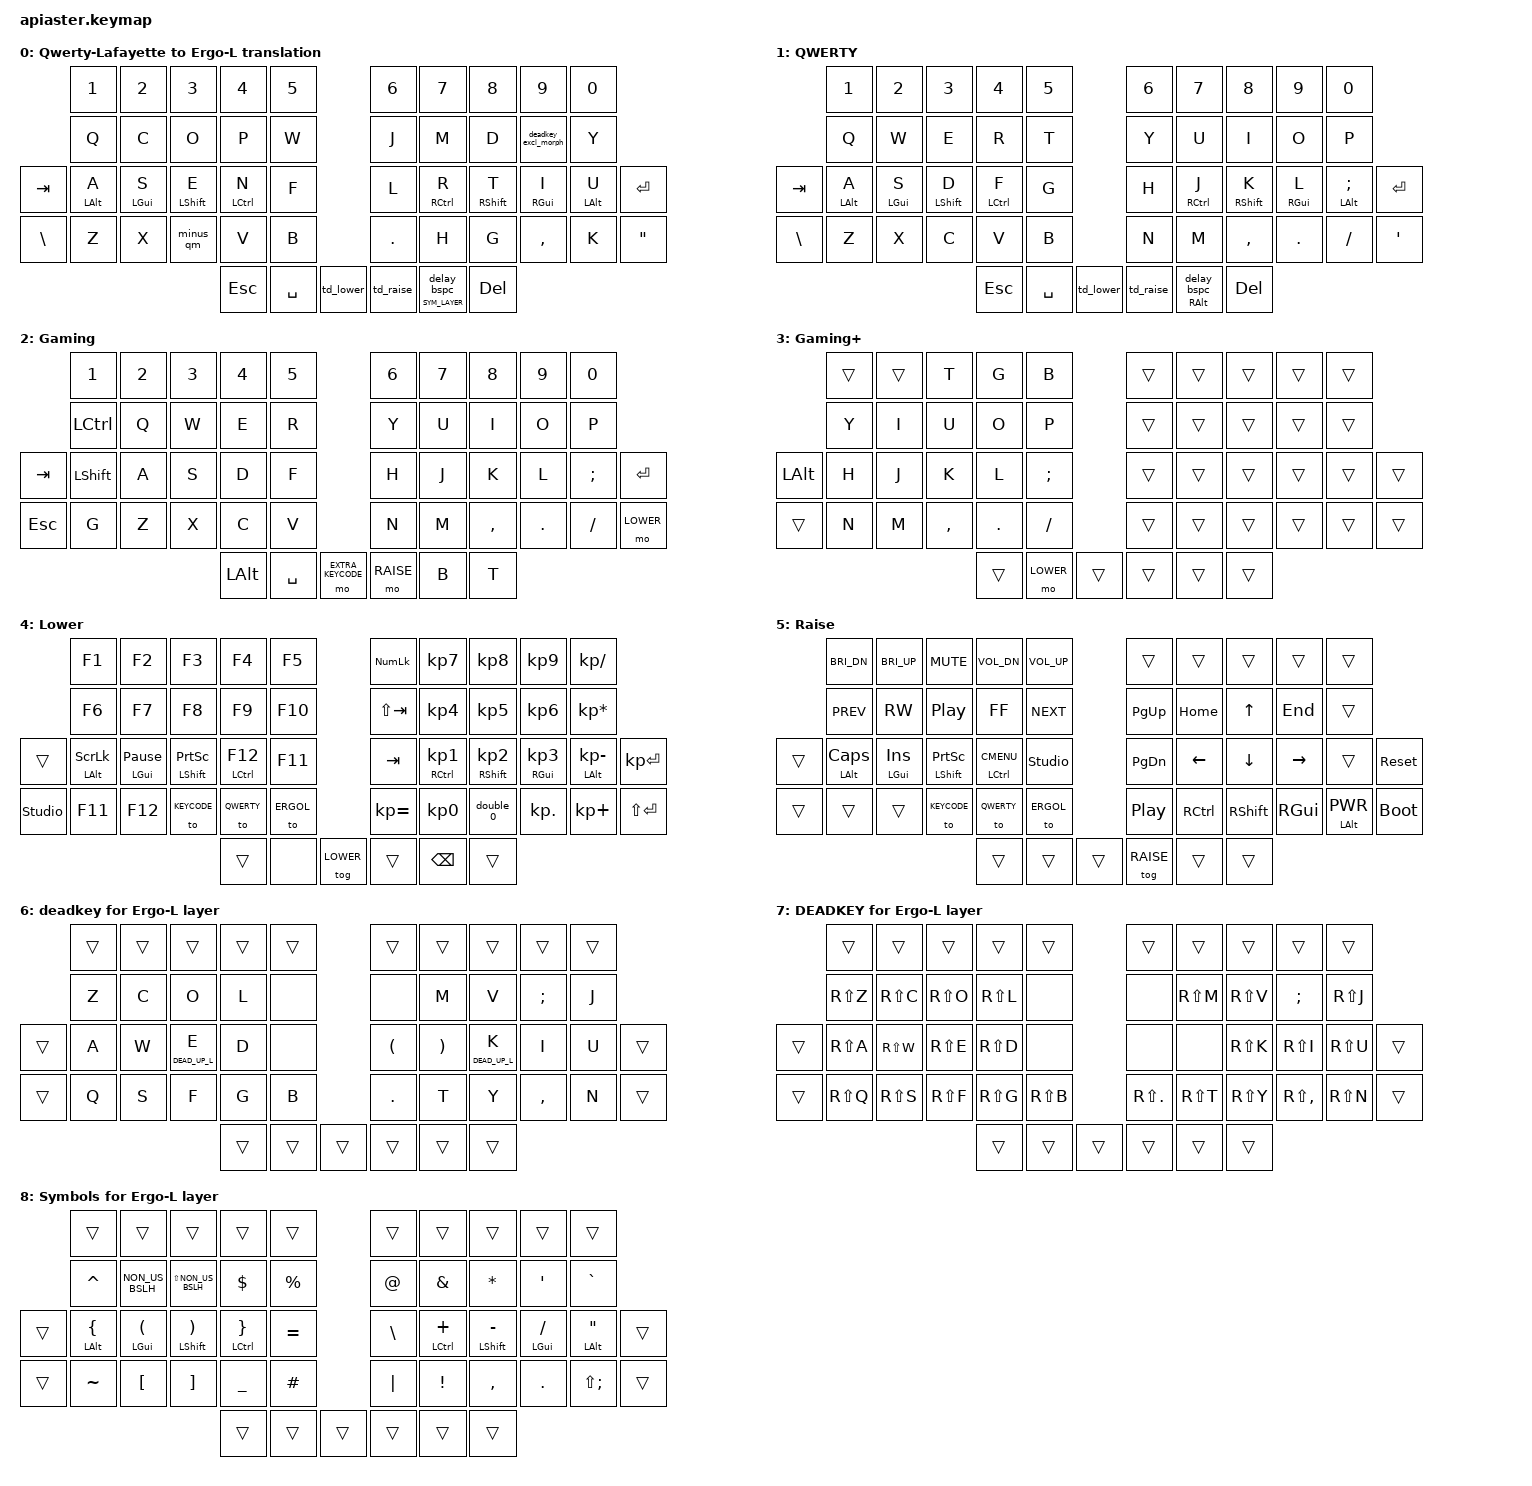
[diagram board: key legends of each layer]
#include <behaviors.dtsi>
#include <dt-bindings/zmk/keys.h>
#include <dt-bindings/zmk/bt.h>

#define ERGOL 0
#define QWERTY 1
#define KEYCODE 2
#define EXTRA_KEYCODE 3
#define LOWER 4
#define RAISE 5
#define DEAD_L 6
#define DEAD_UP_L 7
#define SYM_LAYER 8

#define KEYS_L 0 1 2 3 4 10 11 12 13 14 20 21 22 23 24 25 32 33 34 35 36 37
#define KEYS_R 5 6 7 8 9 15 16 17 18 19 26 27 28 29 30 31 38 39 40 41 42 43
#define THUMBS_L 44 45 46
#define THUMBS_R 47 48 49

#define COMPOSE_KEY RALT


/ {    
//  TODO: Caractère `×` et autres majuscules de la couche `sym` mieux implémentées, accés aux guilemets ” ouvrants fermants.
    macros {
        double_0: keypad_double_0 {
        compatible = "zmk,behavior-macro";
            #binding-cells = <0>;
            bindings
            = <&macro_tap &kp KP_NUMBER_0>
                , <&macro_tap &kp KP_NUMBER_0>;
        };

        deadlayer: deadkey_layer {
        compatible = "zmk,behavior-macro";
            #binding-cells = <0>;
            bindings
            = <&macro_tap &kp SEMI>
                , <&sl DEAD_L>; 
        };

        delay_bspc: delayed_backspace {
            compatible = "zmk,behavior-macro";
            #binding-cells = <0>;
            bindings
                = <&macro_press &kp BSPC>
                , <&macro_wait_time 20>
                , <&macro_release &kp BSPC>
                ;
        };
    };

    behaviors {
        hl: home_row_hold_tap_left {
        compatible = "zmk,behavior-hold-tap";
            #binding-cells = <2>;
            flavor = "balanced";
            tapping-term-ms = <280>;
            quick-tap-ms = <175>;
            require-prior-idle-ms = <125>;
            bindings = <&kp>, <&kp>;
            hold-trigger-key-positions = <KEYS_R THUMBS_R>;
            hold-trigger-on-release;
        };

        hr: home_row_hold_tap_right {
        compatible = "zmk,behavior-hold-tap";
            #binding-cells = <2>;
            flavor = "balanced";
            tapping-term-ms = <280>;
            quick-tap-ms = <175>;
            require-prior-idle-ms = <125>;
            bindings = <&kp>, <&kp>;
            hold-trigger-key-positions = <KEYS_L THUMBS_L>;
            hold-trigger-on-release;
        };

        lthl: layer_tap_hold_left {
        compatible = "zmk,behavior-hold-tap";
            #binding-cells = <2>;
            flavor = "balanced";
            tapping-term-ms = <280>;
            quick-tap-ms = <175>;
            require-prior-idle-ms = <125>;
            bindings = <&mo>, <&kp>;
            hold-trigger-key-positions = <KEYS_R THUMBS_R>;
            hold-trigger-on-release;
        };

        lthr: layer_tap_hold_right {
        compatible = "zmk,behavior-hold-tap";
            #binding-cells = <2>;
            flavor = "balanced";
            tapping-term-ms = <280>;
            quick-tap-ms = <175>;
            require-prior-idle-ms = <125>;
            bindings = <&mo>, <&kp>;
            hold-trigger-key-positions = <KEYS_L THUMBS_L>;
            hold-trigger-on-release;
        };

        ltbspc: layer_tap_backspace {
        compatible = "zmk,behavior-hold-tap";
            #binding-cells = <2>;
            flavor = "hold-preferred";
            tapping-term-ms = <180>;
            quick-tap-ms = <150>;
            require-prior-idle-ms = <125>;
            bindings = <&mo>, <&delay_bspc>;
        };

        htbspc: hold_tap_backspace {
        compatible = "zmk,behavior-hold-tap";
            #binding-cells = <2>;
            flavor = "hold-preferred";
            tapping-term-ms = <180>;
            quick-tap-ms = <150>;
            require-prior-idle-ms = <125>;
            bindings = <&kp>, <&delay_bspc>;
        };
        // Unused
        td_rst: reset_tap_dance {
        compatible = "zmk,behavior-tap-dance";
            #binding-cells = <0>;
            tapping-term-ms = <200>;
            bindings = <&sys_reset>, <&bootloader>;
        };

        td_lower: tap_dance_lower {
        compatible = "zmk,behavior-tap-dance";
            #binding-cells = <0>;
            tapping-term-ms = <200>;
            bindings
            = <&mo LOWER>
                , <&tog LOWER>;
        };

        td_raise: tap_dance_raise {
        compatible = "zmk,behavior-tap-dance";
            #binding-cells = <0>;
            tapping-term-ms = <200>;
            bindings
            = <&mo RAISE>
                , <&tog RAISE>;
        };

        // Ergo-L Behaviors
        minus_qm: minus_question {
        compatible = "zmk,behavior-mod-morph";
            #binding-cells = <0>;
            bindings = <&kp MINUS>, <&kp QUESTION>;
            mods = <(MOD_LSFT|MOD_RSFT)>;
        };

        deadkey_excl_morph: deadkey_excl_morph {
        compatible = "zmk,behavior-mod-morph";
            #binding-cells = <0>;
            bindings = <&deadlayer>, <&kp EXCL>;
            mods = <(MOD_LSFT|MOD_RSFT)>;
        };
    };

    keymap {
    compatible = "zmk,keymap";

        ergol_conversion_layer {
        display-name = "Qwerty-Lafayette to Ergo-L translation";
            bindings = <
      &kp N1      &kp N2     &kp N3     &kp N4       &kp N5                      &kp N6   &kp N7      &kp N8      &kp N9        &kp N0
      &kp Q       &kp C      &kp O      &kp P        &kp W                       &kp J    &kp M       &kp D       &deadkey_excl_morph &kp Y
&kp TAB  &hl LALT A &hl LGUI S &hl LSHFT E &hl LCTRL N  &kp F                       &kp L    &hr RCTRL R &hr RSHFT T &hr RGUI I   &hr LALT U &kp ENTER
&kp BSLH &kp Z       &kp X      &minus_qm  &kp V        &kp B                       &kp DOT &kp H       &kp G       &kp COMMA    &kp K      &kp DOUBLE_QUOTES
                                        &kp ESC &kp SPACE &td_lower &td_raise &ltbspc SYM_LAYER 0 &kp DEL
        >;
        };

        qwerty_layer {
        display-name = "QWERTY";
            bindings = <
      &kp N1     &kp N2     &kp N3      &kp N4      &kp N5                      &kp N6    &kp N7      &kp N8      &kp N9     &kp N0
      &kp Q      &kp W      &kp E       &kp R       &kp T                       &kp Y     &kp U       &kp I       &kp O      &kp P
&kp TAB   &hl LALT A &hl LGUI S &hl LSHFT D &hl LCTRL F &kp G                       &kp H     &hr RCTRL J &hr RSHFT K &hr RGUI L &hr LALT SEMI &kp ENTER
&kp BSLH &kp Z      &kp X      &kp C       &kp V       &kp B                       &kp N     &kp M       &kp COMMA   &kp DOT    &kp FSLH      &kp SQT
                                        &kp ESC &kp SPACE &td_lower &td_raise &htbspc RALT 0 &kp DEL
        >;
        };

        // gaming layers
        keycode_layer {
        display-name = "Gaming";
            bindings = <
      &kp N1     &kp N2   &kp N3   &kp N4   &kp N5                            &kp N6 &kp N7 &kp N8 &kp N9 &kp N0
      &kp LCTRL  &kp Q    &kp W    &kp E    &kp R                             &kp Y &kp U &kp I &kp O &kp P
&kp TAB   &kp LSHFT  &kp A    &kp S    &kp D    &kp F                             &kp H &kp J &kp K &kp L &kp SEMI &kp ENTER
&kp ESC   &kp G  &kp Z    &kp X    &kp C    &kp V                             &kp N &kp M &kp COMMA &kp DOT &kp FSLH &mo LOWER
                                   &kp LALT &kp SPACE &mo EXTRA_KEYCODE &mo RAISE &kp B &kp T
        >;
        };

        extra_keycode_layer {
        display-name = "Gaming+";
            bindings = <
      &trans   &trans &kp T     &kp G   &kp B                  &trans    &trans  &trans  &trans  &trans  
      &kp Y    &kp I  &kp U     &kp O   &kp P                  &trans    &trans  &trans  &trans  &trans  
&kp LALT  &kp H    &kp J  &kp K     &kp L   &kp SEMI                  &trans    &trans  &trans  &trans  &trans   &trans  
&trans    &kp N    &kp M  &kp COMMA &kp DOT &kp FSLH                  &trans    &trans  &trans  &trans  &trans   &trans  
                                   &trans   &mo LOWER  &trans  &trans &trans    &trans
        >;
        };

        lower_layer {
        display-name = "Lower";
            bindings = <
       &kp F1              &kp F2               &kp F3          &kp F4        &kp F5  &kp KP_NUM  &kp KP_NUMBER_7       &kp KP_NUMBER_8       &kp KP_NUMBER_9 &kp KP_DIVIDE
       &kp F6              &kp F7               &kp F8          &kp F9        &kp F10 &kp LS(TAB) &kp KP_NUMBER_4       &kp KP_NUMBER_5       &kp KP_NUMBER_6 &kp KP_MULTIPLY
&trans &hl LALT SCROLLLOCK &hl LGUI PAUSE_BREAK &hl LSHFT PSCRN &hl LCTRL F12 &kp F11 &kp TAB &hr RCTRL KP_NUMBER_1 &hr RSHFT KP_NUMBER_2 &hr RGUI KP_NUMBER_3 &hr LALT KP_SUBTRACT &kp KP_ENTER
&studio_unlock &kp F11         &kp F12              &to KEYCODE     &to QWERTY    &to ERGOL &kp KP_EQUAL &kp KP_NUMBER_0 &double_0 &kp KP_DOT &kp KP_PLUS &kp LS(ENTER)
                                               &trans &none &tog LOWER &trans &kp BSPC &trans
        >;
        };

        raise_layer {
        display-name = "Raise";
            bindings = <
       &kp C_BRI_DN  &kp C_BRI_UP &kp C_MUTE      &kp C_VOL_DN      &kp C_VOL_UP        &trans    &trans    &trans    &trans    &trans
       &kp C_PREV    &kp C_RW     &kp C_PP        &kp C_FF          &kp C_NEXT          &kp PG_UP &kp HOME  &kp UP    &kp END   &trans
&trans &hl LALT CLCK &hl LGUI INS &hl LSHFT PSCRN &hl LCTRL K_CMENU &studio_unlock      &kp PG_DN &kp LEFT  &kp DOWN  &kp RIGHT &trans         &sys_reset
&trans &trans       &trans &to KEYCODE     &to QWERTY            &to ERGOL           &kp C_PP  &kp RCTRL &kp RSHFT &kp RGUI  &hr LALT C_PWR &bootloader
                                           &trans &trans &trans &tog RAISE &trans &trans
        >;
        };

        // Qwerty-Lafayette to Ergo-L translation overlays
        dead_key_layer {
        display-name = "deadkey for Ergo-L layer";
            bindings = <
      &trans &trans &trans &trans &trans           &trans &trans &trans &trans &trans
      &kp Z &kp C &kp O &kp L &none                      &none &kp M &kp V &kp SEMI &kp J
&trans &kp A &kp W &lthl DEAD_UP_L E &kp D &none     &kp LPAR &kp RPAR &lthr DEAD_UP_L K &kp I &kp U &trans
&trans &kp Q &kp S &kp F &kp G &kp B                   &kp DOT &kp T &kp Y &kp COMMA &kp N &trans
                                   &trans   &trans  &trans  &trans &trans &trans
        >;
        };

        upper_dead_key_layer {
        display-name = "DEADKEY for Ergo-L layer";
            bindings = <
   &trans &trans &trans &trans &trans                             &trans &trans &trans &trans &trans
   &kp RS(Z) &kp RS(C) &kp RS(O) &kp RS(L) &none                  &none       &kp RS(M) &kp RS(V) &kp SEMI     &kp RS(J)
&trans &kp RS(A) &kp RS(W) &kp RS(E) &kp RS(D) &none                  &none       &none     &kp RS(K) &kp RS(I)     &kp RS(U) &trans
&trans &kp RS(Q) &kp RS(S) &kp RS(F) &kp RS(G) &kp RS(B)              &kp RS(DOT) &kp RS(T) &kp RS(Y) &kp RS(COMMA) &kp RS(N) &trans
                                   &trans   &trans  &trans  &trans &trans &trans
        >;
        };

        sym_layer {
        display-name = "Symbols for Ergo-L layer";
            bindings = <
      &trans &trans &trans &trans &trans                                      &trans &trans &trans &trans &trans
      &kp CARET &kp NON_US_BSLH &kp LS(NON_US_BSLH) &kp DOLLAR &kp PERCENT    &kp AT &kp AMPERSAND &kp ASTERISK &kp SINGLE_QUOTE &kp GRAVE
&trans    &hl LALT LBRC  &hl LGUI LPAR  &hl LSHFT RPAR  &hl LCTRL RBRC  &kp EQUAL &kp BACKSLASH &hr LCTRL PLUS &hr LSHFT MINUS &hr LGUI SLASH &hr LALT DOUBLE_QUOTES &trans
&trans    &kp TILDE &kp LBKT &kp RBKT &kp UNDER &kp HASH                          &kp PIPE &kp EXCL &kp COMMA &kp DOT &kp LS(SEMI) &trans
                                         &trans   &trans  &trans                    &trans &trans    &trans
        >;
        };
    };
};

